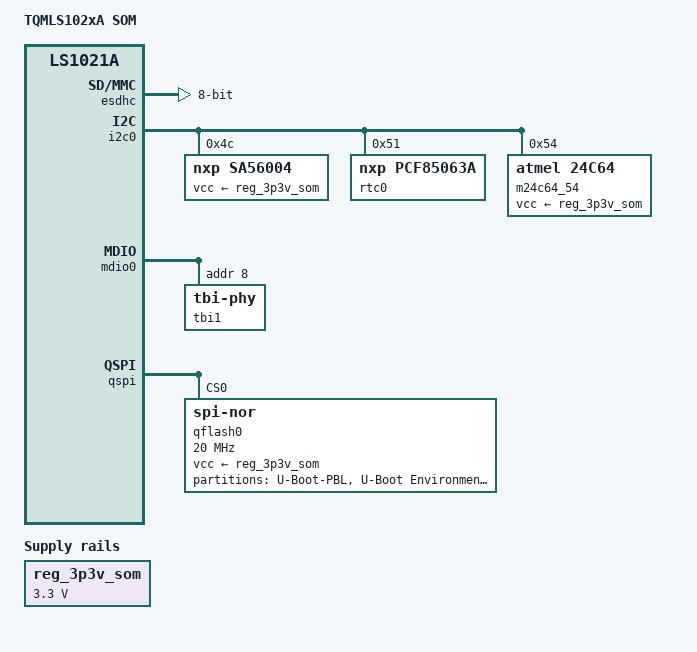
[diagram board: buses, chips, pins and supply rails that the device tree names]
// SPDX-License-Identifier: (GPL-2.0-or-later OR MIT)
/*
 * Copyright 2013-2014 Freescale Semiconductor, Inc.
 * Copyright 2018-2023 TQ-Systems GmbH <linux@ew.tq-group.com>,
 * D-82229 Seefeld, Germany.
 * Author: Alexander Stein
 */

#include "ls1021a.dtsi"

/ {
	model = "TQMLS102xA SOM";
	compatible = "tq,ls1021a-tqmls1021a", "fsl,ls1021a";

	reg_3p3v_som: regulator-3p3v-som {
		compatible = "regulator-fixed";
		regulator-name = "3P3V_SOM";
		regulator-min-microvolt = <3300000>;
		regulator-max-microvolt = <3300000>;
		regulator-always-on;
	};
};

&esdhc {
	/* e-MMC over 8 data lines */
	bus-width = <8>;
	status = "okay";
};

&i2c0 {
	status = "okay";

	/* MC34VR500 DC/DC regulator at 0x8, managed by PMIC */
	/* On-board PMC at 0x11 */

	sa56004: temperature-sensor@4c {
		compatible = "nxp,sa56004";
		reg = <0x4c>;
		vcc-supply = <&reg_3p3v_som>;
	};

	rtc0: rtc@51 {
		compatible = "nxp,pcf85063a";
		reg = <0x51>;
		quartz-load-femtofarads = <12500>;
	};

	m24c64_54: eeprom@54 {
		compatible = "atmel,24c64";
		reg = <0x54>;
		pagesize = <32>;
		read-only;
		vcc-supply = <&reg_3p3v_som>;
	};
};

&mdio0 {
	tbi1: tbi-phy@8 {
		reg = <0x8>;
		device_type = "tbi-phy";
	};
};

&qspi {
	status = "okay";

	qflash0: flash@0 {
		compatible = "jedec,spi-nor";
		spi-max-frequency = <20000000>;
		spi-rx-bus-width = <4>;
		spi-tx-bus-width = <4>;
		reg = <0>;
		vcc-supply = <&reg_3p3v_som>;

		partitions {
			compatible = "fixed-partitions";
			#address-cells = <1>;
			#size-cells = <1>;

			uboot@0 {
				label = "U-Boot-PBL";
				reg = <0x0 0xe0000>;
			};

			env@e0000 {
				label = "U-Boot Environment";
				reg = <0xe0000 0x10000>;
			};

			dtb@f0000 {
				label = "DTB";
				reg = <0xf0000 0x10000>;
			};

			linux@100000 {
				label = "Linux";
				reg = <0x100000 0x700000>;
			};

			rootfs@800000 {
				label = "RootFS";
				reg = <0x800000 0x3800000>;
			};
		};
	};
};
